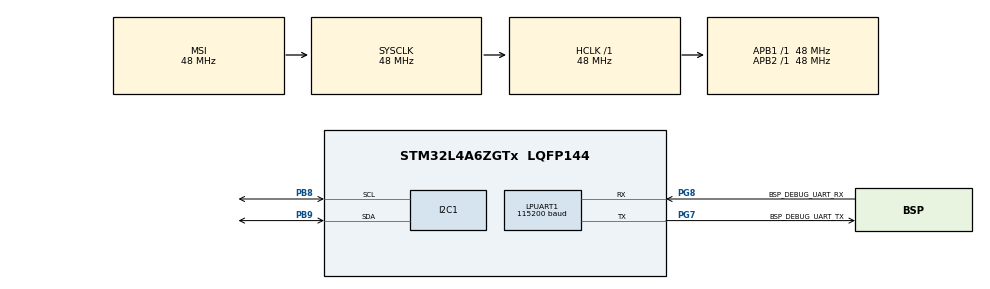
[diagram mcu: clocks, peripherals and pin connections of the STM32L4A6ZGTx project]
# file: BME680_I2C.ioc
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I2C1.Timing=0x20303E5D
LPUART1.BaudRate=115200
LPUART1.WordLength=UART_WORDLENGTH_8B
Mcu.Family=STM32L4
Mcu.Name=STM32L4A6ZGTx
Mcu.Package=LQFP144
NVIC.PriorityGroup=NVIC_PRIORITYGROUP_4
PB8.Mode=I2C
PB8.Signal=I2C1_SCL
PB9.Mode=I2C
PB9.Signal=I2C1_SDA
PG7.GPIO_Label=BSP_DEBUG_UART_TX
PG7.Mode=Asynchronous
PG7.Signal=LPUART1_TX
PG8.GPIO_Label=BSP_DEBUG_UART_RX
PG8.Mode=Asynchronous
PG8.Signal=LPUART1_RX
ProjectManager.HeapSize=0x200
ProjectManager.StackSize=0x400
ProjectManager.TargetToolchain=STM32CubeIDE
RCC.ADCFreq_Value=192000000
RCC.AHBFreq_Value=48000000
RCC.APB1Freq_Value=48000000
RCC.APB1TimFreq_Value=48000000
RCC.APB2Freq_Value=48000000
RCC.APB2TimFreq_Value=48000000
RCC.CortexFreq_Value=48000000
RCC.HCLKFreq_Value=48000000
RCC.HSE_VALUE=8000000
RCC.HSI48_VALUE=48000000
RCC.HSI_VALUE=16000000
RCC.LSE_VALUE=32768
RCC.MSIClockRange=RCC_MSIRANGE_11
RCC.MSI_VALUE=48000000
RCC.SYSCLKFreq_VALUE=48000000
RCC.USBFreq_Value=192000000
RCC.VCOOutputFreq_Value=384000000
board=NUCLEO-L4A6ZG

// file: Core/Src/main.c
/* USER CODE BEGIN Header */
/**
  ******************************************************************************
  * @file           : main.c
  * @brief          : Main program body
  ******************************************************************************
  * @attention
  *
  * Copyright (c) 2024 STMicroelectronics.
  * All rights reserved.
  *
  * This software is licensed under terms that can be found in the LICENSE file
  * in the root directory of this software component.
  * If no LICENSE file comes with this software, it is provided AS-IS.
  *
  ******************************************************************************
  */
/* USER CODE END Header */
#include "main.h"

/* USER CODE BEGIN Includes */
#include <bme68x.h>
#include <bme68x_read_write.h>
#include "stdio.h"
#include "string.h"
/* USER CODE END Includes */

I2C_HandleTypeDef hi2c1;

UART_HandleTypeDef hlpuart1;

void SystemClock_Config(void);
static void MX_GPIO_Init(void);
static void MX_I2C1_Init(void);
static void MX_LPUART1_UART_Init(void);
/* USER CODE BEGIN PFP */

void I2C_Scanner(void);

/* USER CODE END PFP */

int main(void)
{

  /* MCU Configuration--------------------------------------------------------*/

  /* Reset of all peripherals, Initializes the Flash interface and the Systick. */
  HAL_Init();

  /* Configure the system clock */
  SystemClock_Config();

  /* Initialize all configured peripherals */
  MX_GPIO_Init();
  MX_I2C1_Init();
  MX_LPUART1_UART_Init();
  /* USER CODE BEGIN 2 */

  I2C_Scanner();

  /* BME680 API forced mode test */
  	struct bme68x_data data;
  	bme68x_start(&data, &hi2c1);

  /* USER CODE END 2 */

  /* Infinite loop */
  /* USER CODE BEGIN WHILE */
  while (1)
  {
		if (bme68x_single_measure(&data) == 0) {

			// Measurement is successful, so continue with IAQ
			data.iaq_score = bme68x_iaq(); // Calculate IAQ

			// Create a message buffer and clear it.
			char msgBuffer[120];
			for (uint16_t i = 0; i < 120; i++) {
				msgBuffer[i] = ' ';
			}

			// Send the data through UART.
			sprintf(msgBuffer,
					"Temperature(deg C): %.2f, Pressure(Pa): %.2f, Humidity(%%): %.2f, IAQ: %.1f ,Gas resistance(ohm): %.2f\r\n",
					data.temperature, data.pressure, data.humidity,
					data.iaq_score, data.gas_resistance);

			HAL_UART_Transmit(&hlpuart1, (uint8_t*) msgBuffer, strlen(msgBuffer),
					HAL_MAX_DELAY);

		}

		HAL_Delay(1000);

    /* USER CODE END WHILE */

  }
}

void SystemClock_Config(void)
{
  RCC_OscInitTypeDef RCC_OscInitStruct = {0};
  RCC_ClkInitTypeDef RCC_ClkInitStruct = {0};

  /** Configure the main internal regulator output voltage
  */
  if (HAL_PWREx_ControlVoltageScaling(PWR_REGULATOR_VOLTAGE_SCALE1) != HAL_OK)
  {
    Error_Handler();
  }

  /** Initializes the RCC Oscillators according to the specified parameters
  * in the RCC_OscInitTypeDef structure.
  */
  RCC_OscInitStruct.OscillatorType = RCC_OSCILLATORTYPE_MSI;
  RCC_OscInitStruct.MSIState = RCC_MSI_ON;
  RCC_OscInitStruct.MSICalibrationValue = 0;
  RCC_OscInitStruct.MSIClockRange = RCC_MSIRANGE_11;
  RCC_OscInitStruct.PLL.PLLState = RCC_PLL_NONE;
  if (HAL_RCC_OscConfig(&RCC_OscInitStruct) != HAL_OK)
  {
    Error_Handler();
  }

  /** Initializes the CPU, AHB and APB buses clocks
  */
  RCC_ClkInitStruct.ClockType = RCC_CLOCKTYPE_HCLK|RCC_CLOCKTYPE_SYSCLK
                              |RCC_CLOCKTYPE_PCLK1|RCC_CLOCKTYPE_PCLK2;
  RCC_ClkInitStruct.SYSCLKSource = RCC_SYSCLKSOURCE_MSI;
  RCC_ClkInitStruct.AHBCLKDivider = RCC_SYSCLK_DIV1;
  RCC_ClkInitStruct.APB1CLKDivider = RCC_HCLK_DIV1;
  RCC_ClkInitStruct.APB2CLKDivider = RCC_HCLK_DIV1;

  if (HAL_RCC_ClockConfig(&RCC_ClkInitStruct, FLASH_LATENCY_2) != HAL_OK)
  {
    Error_Handler();
  }
}

static void MX_I2C1_Init(void)
{

  hi2c1.Instance = I2C1;
  hi2c1.Init.Timing = 0x20303E5D;
  hi2c1.Init.OwnAddress1 = 0;
  hi2c1.Init.AddressingMode = I2C_ADDRESSINGMODE_7BIT;
  hi2c1.Init.DualAddressMode = I2C_DUALADDRESS_DISABLE;
  hi2c1.Init.OwnAddress2 = 0;
  hi2c1.Init.OwnAddress2Masks = I2C_OA2_NOMASK;
  hi2c1.Init.GeneralCallMode = I2C_GENERALCALL_DISABLE;
  hi2c1.Init.NoStretchMode = I2C_NOSTRETCH_DISABLE;
  if (HAL_I2C_Init(&hi2c1) != HAL_OK)
  {
    Error_Handler();
  }

  /** Configure Analogue filter
  */
  if (HAL_I2CEx_ConfigAnalogFilter(&hi2c1, I2C_ANALOGFILTER_ENABLE) != HAL_OK)
  {
    Error_Handler();
  }

  /** Configure Digital filter
  */
  if (HAL_I2CEx_ConfigDigitalFilter(&hi2c1, 0) != HAL_OK)
  {
    Error_Handler();
  }

}

static void MX_LPUART1_UART_Init(void)
{

  hlpuart1.Instance = LPUART1;
  hlpuart1.Init.BaudRate = 115200;
  hlpuart1.Init.WordLength = UART_WORDLENGTH_8B;
  hlpuart1.Init.StopBits = UART_STOPBITS_1;
  hlpuart1.Init.Parity = UART_PARITY_NONE;
  hlpuart1.Init.Mode = UART_MODE_TX_RX;
  hlpuart1.Init.HwFlowCtl = UART_HWCONTROL_NONE;
  hlpuart1.Init.OneBitSampling = UART_ONE_BIT_SAMPLE_DISABLE;
  hlpuart1.AdvancedInit.AdvFeatureInit = UART_ADVFEATURE_NO_INIT;
  if (HAL_UART_Init(&hlpuart1) != HAL_OK)
  {
    Error_Handler();
  }

}

static void MX_GPIO_Init(void)
{

  /* GPIO Ports Clock Enable */
  __HAL_RCC_GPIOG_CLK_ENABLE();
  HAL_PWREx_EnableVddIO2();
  __HAL_RCC_GPIOB_CLK_ENABLE();

}

/* USER CODE BEGIN 4 */

void I2C_Scanner(void)
{
	printf("\r\n");

	 	printf("Scanning I2C bus:\r\n");
		HAL_StatusTypeDef result;
	 	uint8_t i;
	 	for (i=1; i<128; i++)
	 	{
	 	  /*
	 	   * the HAL wants a left aligned i2c address
	 	   * &hi2c1 is the handle
	 	   * (uint16_t)(i<<1) is the i2c address left aligned
	 	   * retries 2
	 	   * timeout 2
	 	   */
	 	  result = HAL_I2C_IsDeviceReady(&hi2c1, (uint16_t)(i<<1), 2, 2);
	 	  if (result != HAL_OK) // HAL_ERROR or HAL_BUSY or HAL_TIMEOUT
	 	  {
	 		  printf("."); // No ACK received at that address
	 	  }
	 	  if (result == HAL_OK)
	 	  {
	 		  printf("\r\nSlave Address: 0x%X\r\n", i); // Received an ACK at that address
	 	  }
	 	}
	 	printf("\r\n");
}

/* USER CODE END 4 */

void Error_Handler(void)
{
  __disable_irq();
  while (1)
  {
  }
}
